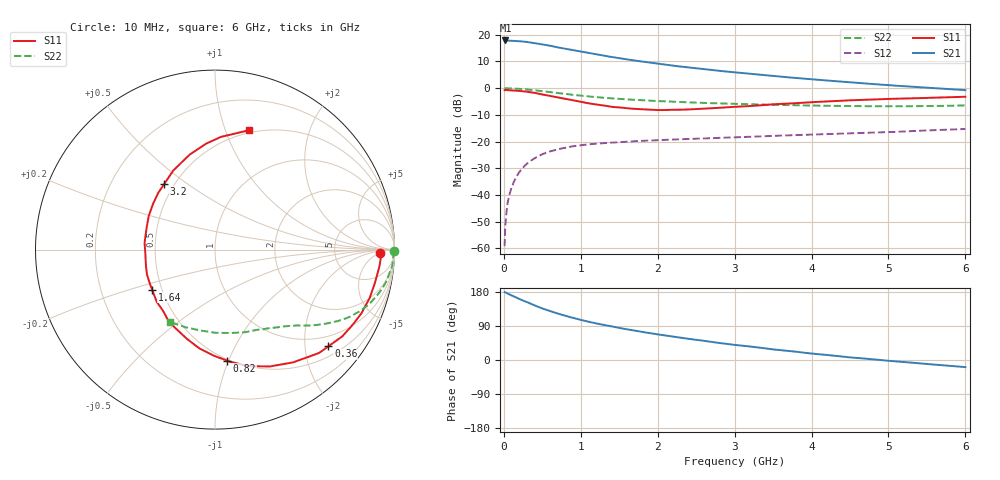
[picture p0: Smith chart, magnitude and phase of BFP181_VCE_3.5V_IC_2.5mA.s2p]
! Infineon Technologies  Discrete & RF Semiconductors
! BFP181
! VCE = 3.5 V,  IC =  2.5 mA
! Common Emitter S-Parameters:  Jan 2016
# GHz  S  MA  R  50
!  f  S11  S21  S12  S22
! GHz  MAG  ANG  MAG  ANG  MAG  ANG  MAG  ANG
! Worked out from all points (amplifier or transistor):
!   210 points, 10 MHz to 6 GHz, reference 50 ohm
!   highest |S21| = 17.9 dB at 20 MHz (marker M1)
!   |S21| within 3 dB of that: start of sweep to 781.4 MHz
!   unconditionally stable (mu >= 1): 2.282 GHz to end of sweep
!   at 185 MHz: K = 0.11, MSG = 24.9 dB, |S12| = -32.1 dB
!   at 1.52 GHz: K = 0.75, MSG = 15.7 dB, |S12| = -20.2 dB
!   at 6 GHz: K = 1.11, MAG = 5.2 dB, |S12| = -15.3 dB
!   S11 on the Smith chart (normalised r, x): 10 MHz: 22, -6; 360 MHz: 0.73, -2.53; 820 MHz: 0.49, -0.99; 1.64 GHz: 0.44, -0.24; 3.2 GHz: 0.44, +0.41; 6 GHz: 0.48, +1.21
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0.01  0.9184 -1.3  7.815 179.1  0.0011 83.4  0.9962 -0.5
0.02  0.9256 -2.4  7.818 178.5  0.0027 90.5  0.9952 -1.0
0.05  0.921 -5.8  7.77 175.2  0.0072 87.8  0.9928 -2.7
0.115  0.9071 -13.4  7.67 169.2  0.0156 81.1  0.988 -6.0
0.24  0.8763 -27.7  7.476 157.5  0.0316 73.8  0.9612 -12.3
0.3  0.8582 -34.3  7.325 152.9  0.0385 69.9  0.944 -15.0
0.36  0.8303 -40.5  7.096 147.6  0.0446 66.0  0.925 -17.5
0.4  0.8174 -44.8  6.979 143.9  0.0487 64.0  0.9134 -19.3
0.5  0.7641 -55.3  6.596 135.9  0.058 58.8  0.8782 -22.9
0.6  0.7191 -64.9  6.26 128.9  0.0653 54.2  0.8417 -26.3
0.7  0.6754 -74.0  5.802 122.5  0.0715 50.2  0.808 -29.0
0.82  0.6218 -83.9  5.408 115.5  0.0779 46.0  0.7708 -31.7
1.02  0.5492 -100.6  4.773 104.9  0.0859 40.6  0.7184 -35.5
1.3  0.4757 -122.9  4.049 92.5  0.0934 34.9  0.6599 -39.8
1.64  0.4156 -147.6  3.39 79.6  0.1005 30.6  0.6115 -43.9
2.02  0.3886 -174.6  2.844 67.0  0.1066 27.4  0.5721 -48.5
2.4  0.3999 162.6  2.444 55.9  0.1118 25.1  0.5431 -53.4
3.1  0.4537 131.4  1.915 37.8  0.1215 22.0  0.5023 -63.4
3.2  0.4623 127.7  1.853 35.6  0.1231 21.6  0.4986 -65.0
4.1  0.5553 102.8  1.429 15.2  0.1366 18.4  0.4699 -81.3
5.1  0.6335 85.6  1.112 -3.7  0.1522 15.2  0.4576 -102.3
6  0.6904 74.2  0.918 -18.8  0.1722 11.5  0.4747 -122.0
